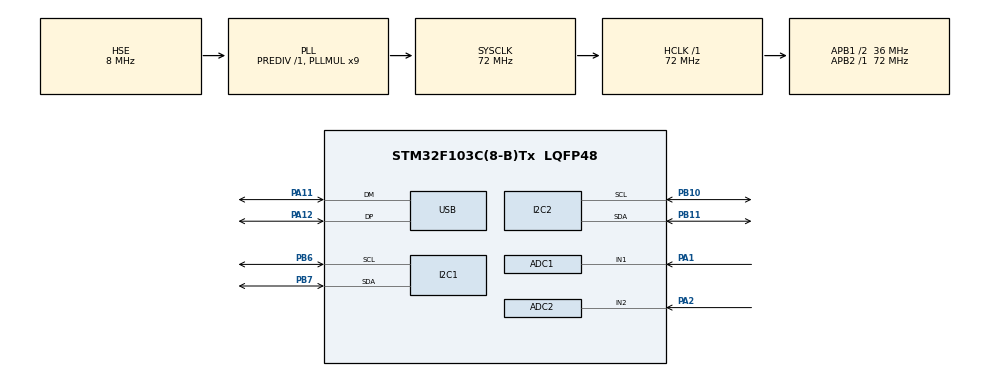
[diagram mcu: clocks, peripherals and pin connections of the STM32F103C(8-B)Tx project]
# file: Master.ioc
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ADC1.Channel-1\#ChannelRegularConversion=ADC_CHANNEL_1
ADC1.ContinuousConvMode=ENABLE
ADC1.NbrOfConversionFlag=1
ADC1.Rank-1\#ChannelRegularConversion=1
ADC1.SamplingTime-1\#ChannelRegularConversion=ADC_SAMPLETIME_1CYCLE_5
ADC1.master=1
ADC2.Channel-0\#ChannelRegularConversion=ADC_CHANNEL_2
ADC2.ContinuousConvMode=ENABLE
ADC2.NbrOfConversionFlag=1
ADC2.Rank-0\#ChannelRegularConversion=1
ADC2.SamplingTime-0\#ChannelRegularConversion=ADC_SAMPLETIME_1CYCLE_5
Mcu.Family=STM32F1
Mcu.Name=STM32F103C(8-B)Tx
Mcu.Package=LQFP48
NVIC.PriorityGroup=NVIC_PRIORITYGROUP_4
NVIC.USB_LP_CAN1_RX0_IRQn=true\:0\:0\:false\:false\:true\:false\:true\:true
PA1.Signal=ADCx_IN1
PA11.Mode=Device
PA11.Signal=USB_DM
PA12.Mode=Device
PA12.Signal=USB_DP
PA13.Mode=Serial_Wire
PA13.Signal=SYS_JTMS-SWDIO
PA14.Mode=Serial_Wire
PA14.Signal=SYS_JTCK-SWCLK
PA2.Signal=ADCx_IN2
PB10.Mode=I2C
PB10.Signal=I2C2_SCL
PB11.Mode=I2C
PB11.Signal=I2C2_SDA
PB6.Mode=I2C
PB6.Signal=I2C1_SCL
PB7.Mode=I2C
PB7.Signal=I2C1_SDA
PD0-OSC_IN.Mode=HSE-External-Oscillator
PD0-OSC_IN.Signal=RCC_OSC_IN
PD1-OSC_OUT.Mode=HSE-External-Oscillator
PD1-OSC_OUT.Signal=RCC_OSC_OUT
ProjectManager.HeapSize=0x200
ProjectManager.StackSize=0x400
ProjectManager.TargetToolchain=STM32CubeIDE
RCC.ADCPresc=RCC_ADCPCLK2_DIV6
RCC.AHBFreq_Value=72000000
RCC.APB1CLKDivider=RCC_HCLK_DIV2
RCC.APB1Freq_Value=36000000
RCC.APB1TimFreq_Value=72000000
RCC.APB2Freq_Value=72000000
RCC.APB2TimFreq_Value=72000000
RCC.HCLKFreq_Value=72000000
RCC.PLLMUL=RCC_PLL_MUL9
RCC.PLLSourceVirtual=RCC_PLLSOURCE_HSE
RCC.SYSCLKFreq_VALUE=72000000
RCC.SYSCLKSource=RCC_SYSCLKSOURCE_PLLCLK
RCC.USBFreq_Value=48000000
RCC.USBPrescaler=RCC_USBCLKSOURCE_PLL_DIV1_5
SH.ADCx_IN1.0=ADC1_IN1,IN1
SH.ADCx_IN2.0=ADC2_IN2,IN2
USB_DEVICE.CLASS_NAME_FS=CDC
USB_DEVICE.VirtualMode=Cdc
USB_DEVICE.VirtualModeFS=Cdc_FS
VP_USB_DEVICE_VS_USB_DEVICE_CDC_FS.Mode=CDC_FS
board=custom

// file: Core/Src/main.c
/* USER CODE BEGIN Header */
/**
  ******************************************************************************
  * @file           : main.c
  * @brief          : Main program body
  ******************************************************************************
  * @attention
  *
  * Copyright (c) 2022 STMicroelectronics.
  * All rights reserved.
  *
  * This software is licensed under terms that can be found in the LICENSE file
  * in the root directory of this software component.
  * If no LICENSE file comes with this software, it is provided AS-IS.
  *
  ******************************************************************************
  */
/* USER CODE END Header */
#include "main.h"
#include "usb_device.h"

/* USER CODE BEGIN Includes */
#include "usbd_cdc_if.h"
#include "SFM3300.h"
#include "string.h"
/* USER CODE END Includes */

 ADC_HandleTypeDef hadc1;
ADC_HandleTypeDef hadc2;

I2C_HandleTypeDef hi2c1;
I2C_HandleTypeDef hi2c2;

/* USER CODE BEGIN PV */
 uint8_t receivedData_SensorOne[3];
 uint8_t receivedData_SensorTwo[3];

 uint8_t result;
 uint8_t result1;

 double airflow_sensorOne;
 double airflow_sensorTwo;

 uint16_t pressureSens1_kPa;
 uint16_t pressureSens2_kPa;
 uint16_t adc_value = 0;
 uint16_t adc_value1 = 0;

 SFM3300_t SFM3300;
/* USER CODE END PV */

void SystemClock_Config(void);
static void MX_GPIO_Init(void);
static void MX_I2C1_Init(void);
static void MX_ADC1_Init(void);
static void MX_ADC2_Init(void);
static void MX_I2C2_Init(void);

/* USER CODE BEGIN 0 */
char data[] = "-1";
/* USER CODE END 0 */

int main(void)
{

  /* MCU Configuration--------------------------------------------------------*/

  /* Reset of all peripherals, Initializes the Flash interface and the Systick. */
  HAL_Init();

  /* Configure the system clock */
  SystemClock_Config();

  /* Initialize all configured peripherals */
  MX_GPIO_Init();
  MX_I2C1_Init();
  MX_ADC1_Init();
  MX_USB_DEVICE_Init();
  MX_ADC2_Init();
  MX_I2C2_Init();

  /* Infinite loop */
  /* USER CODE BEGIN WHILE */
  while (1)
  {
	  // read flow sensor One
	  SFM3300_Read_Current(&hi2c1, receivedData_SensorOne); // 3 byte veri okuyacak ve "receivedData_SensorOne" içine atayacak.
	  result = SMF3300_CheckCrc(receivedData_SensorOne, 2, receivedData_SensorOne[2]);
	  if(result == 0x00)
	  {
		  airflow_sensorOne = SFM3300_ConvertRawData_to_FlowValue(receivedData_SensorOne);
	  }

	  // read flow sensor Two
	  SFM3300_Read_Current(&hi2c2, receivedData_SensorTwo); // 3 byte veri okuyacak ve "receivedData_SensorOne" içine atayacak.
	  result1 = SMF3300_CheckCrc(receivedData_SensorTwo, 2, receivedData_SensorTwo[2]);
	  if(result1 == 0x00)
	  {
		  airflow_sensorTwo = SFM3300_ConvertRawData_to_FlowValue(receivedData_SensorTwo);
	  }

	  // read pressure sensor one
	  HAL_ADC_Start(&hadc1);
	  HAL_ADC_PollForConversion(&hadc1, 1); // timeout 1ms
	  adc_value = HAL_ADC_GetValue(&hadc1);
	  pressureSens1_kPa = (uint16_t)(((((float)adc_value / 4096) -0.04 ) / 0.09)*100);

	  // read pressure sensor two
	  HAL_ADC_Start(&hadc2);
	  HAL_ADC_PollForConversion(&hadc2, 1); // timeout 1ms
	  adc_value1 = HAL_ADC_GetValue(&hadc2);
	  pressureSens2_kPa = (uint16_t)(((((float)adc_value1 / 4096) -0.04 ) / 0.09)*100);

	  // send data
	  //CDC_Transmit_FS((uint8_t *) data, strlen(data));
	  //HAL_Delay(1000);

    /* USER CODE END WHILE */

  }
}

void SystemClock_Config(void)
{
  RCC_OscInitTypeDef RCC_OscInitStruct = {0};
  RCC_ClkInitTypeDef RCC_ClkInitStruct = {0};
  RCC_PeriphCLKInitTypeDef PeriphClkInit = {0};

  /** Initializes the RCC Oscillators according to the specified parameters
  * in the RCC_OscInitTypeDef structure.
  */
  RCC_OscInitStruct.OscillatorType = RCC_OSCILLATORTYPE_HSE;
  RCC_OscInitStruct.HSEState = RCC_HSE_ON;
  RCC_OscInitStruct.HSEPredivValue = RCC_HSE_PREDIV_DIV1;
  RCC_OscInitStruct.HSIState = RCC_HSI_ON;
  RCC_OscInitStruct.PLL.PLLState = RCC_PLL_ON;
  RCC_OscInitStruct.PLL.PLLSource = RCC_PLLSOURCE_HSE;
  RCC_OscInitStruct.PLL.PLLMUL = RCC_PLL_MUL9;
  if (HAL_RCC_OscConfig(&RCC_OscInitStruct) != HAL_OK)
  {
    Error_Handler();
  }

  /** Initializes the CPU, AHB and APB buses clocks
  */
  RCC_ClkInitStruct.ClockType = RCC_CLOCKTYPE_HCLK|RCC_CLOCKTYPE_SYSCLK
                              |RCC_CLOCKTYPE_PCLK1|RCC_CLOCKTYPE_PCLK2;
  RCC_ClkInitStruct.SYSCLKSource = RCC_SYSCLKSOURCE_PLLCLK;
  RCC_ClkInitStruct.AHBCLKDivider = RCC_SYSCLK_DIV1;
  RCC_ClkInitStruct.APB1CLKDivider = RCC_HCLK_DIV2;
  RCC_ClkInitStruct.APB2CLKDivider = RCC_HCLK_DIV1;

  if (HAL_RCC_ClockConfig(&RCC_ClkInitStruct, FLASH_LATENCY_2) != HAL_OK)
  {
    Error_Handler();
  }
  PeriphClkInit.PeriphClockSelection = RCC_PERIPHCLK_ADC|RCC_PERIPHCLK_USB;
  PeriphClkInit.AdcClockSelection = RCC_ADCPCLK2_DIV6;
  PeriphClkInit.UsbClockSelection = RCC_USBCLKSOURCE_PLL_DIV1_5;
  if (HAL_RCCEx_PeriphCLKConfig(&PeriphClkInit) != HAL_OK)
  {
    Error_Handler();
  }
}

static void MX_ADC1_Init(void)
{

  ADC_ChannelConfTypeDef sConfig = {0};

  /** Common config
  */
  hadc1.Instance = ADC1;
  hadc1.Init.ScanConvMode = ADC_SCAN_DISABLE;
  hadc1.Init.ContinuousConvMode = ENABLE;
  hadc1.Init.DiscontinuousConvMode = DISABLE;
  hadc1.Init.ExternalTrigConv = ADC_SOFTWARE_START;
  hadc1.Init.DataAlign = ADC_DATAALIGN_RIGHT;
  hadc1.Init.NbrOfConversion = 1;
  if (HAL_ADC_Init(&hadc1) != HAL_OK)
  {
    Error_Handler();
  }

  /** Configure Regular Channel
  */
  sConfig.Channel = ADC_CHANNEL_1;
  sConfig.Rank = ADC_REGULAR_RANK_1;
  sConfig.SamplingTime = ADC_SAMPLETIME_1CYCLE_5;
  if (HAL_ADC_ConfigChannel(&hadc1, &sConfig) != HAL_OK)
  {
    Error_Handler();
  }

}

static void MX_ADC2_Init(void)
{

  ADC_ChannelConfTypeDef sConfig = {0};

  /** Common config
  */
  hadc2.Instance = ADC2;
  hadc2.Init.ScanConvMode = ADC_SCAN_DISABLE;
  hadc2.Init.ContinuousConvMode = ENABLE;
  hadc2.Init.DiscontinuousConvMode = DISABLE;
  hadc2.Init.ExternalTrigConv = ADC_SOFTWARE_START;
  hadc2.Init.DataAlign = ADC_DATAALIGN_RIGHT;
  hadc2.Init.NbrOfConversion = 1;
  if (HAL_ADC_Init(&hadc2) != HAL_OK)
  {
    Error_Handler();
  }

  /** Configure Regular Channel
  */
  sConfig.Channel = ADC_CHANNEL_2;
  sConfig.Rank = ADC_REGULAR_RANK_1;
  sConfig.SamplingTime = ADC_SAMPLETIME_1CYCLE_5;
  if (HAL_ADC_ConfigChannel(&hadc2, &sConfig) != HAL_OK)
  {
    Error_Handler();
  }

}

static void MX_I2C1_Init(void)
{

  hi2c1.Instance = I2C1;
  hi2c1.Init.ClockSpeed = 100000;
  hi2c1.Init.DutyCycle = I2C_DUTYCYCLE_2;
  hi2c1.Init.OwnAddress1 = 0;
  hi2c1.Init.AddressingMode = I2C_ADDRESSINGMODE_7BIT;
  hi2c1.Init.DualAddressMode = I2C_DUALADDRESS_DISABLE;
  hi2c1.Init.OwnAddress2 = 0;
  hi2c1.Init.GeneralCallMode = I2C_GENERALCALL_DISABLE;
  hi2c1.Init.NoStretchMode = I2C_NOSTRETCH_DISABLE;
  if (HAL_I2C_Init(&hi2c1) != HAL_OK)
  {
    Error_Handler();
  }

}

static void MX_I2C2_Init(void)
{

  hi2c2.Instance = I2C2;
  hi2c2.Init.ClockSpeed = 100000;
  hi2c2.Init.DutyCycle = I2C_DUTYCYCLE_2;
  hi2c2.Init.OwnAddress1 = 0;
  hi2c2.Init.AddressingMode = I2C_ADDRESSINGMODE_7BIT;
  hi2c2.Init.DualAddressMode = I2C_DUALADDRESS_DISABLE;
  hi2c2.Init.OwnAddress2 = 0;
  hi2c2.Init.GeneralCallMode = I2C_GENERALCALL_DISABLE;
  hi2c2.Init.NoStretchMode = I2C_NOSTRETCH_DISABLE;
  if (HAL_I2C_Init(&hi2c2) != HAL_OK)
  {
    Error_Handler();
  }

}

static void MX_GPIO_Init(void)
{

  /* GPIO Ports Clock Enable */
  __HAL_RCC_GPIOD_CLK_ENABLE();
  __HAL_RCC_GPIOA_CLK_ENABLE();
  __HAL_RCC_GPIOB_CLK_ENABLE();

}

void Error_Handler(void)
{
  __disable_irq();
  while (1)
  {
  }
}
